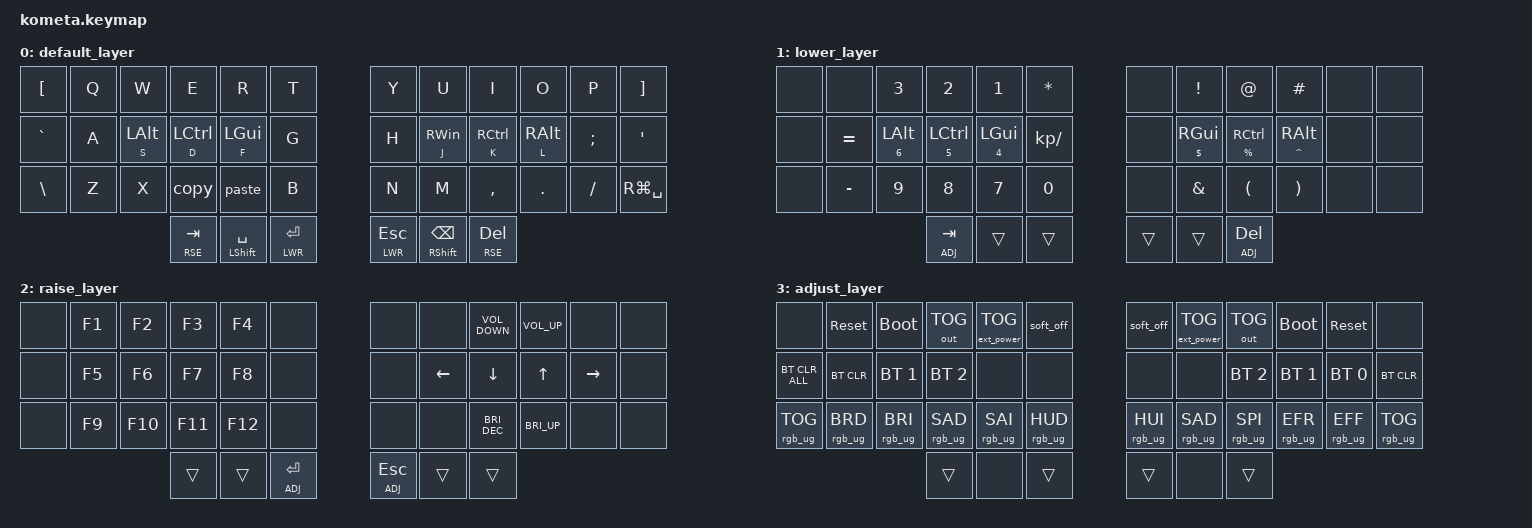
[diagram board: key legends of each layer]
#include <behaviors.dtsi>
#include <dt-bindings/zmk/bt.h>
#include <dt-bindings/zmk/ext_power.h>
#include <dt-bindings/zmk/keys.h>
#include <dt-bindings/zmk/outputs.h>
#include <dt-bindings/zmk/rgb.h>

#define DEF 0
#define LWR 1
#define RSE 2
#define ADJ 3

/ {
};

/ {
    behaviors {
        hr: hr {
            compatible = "zmk,behavior-hold-tap";
            label = "home_row";
            bindings = <&kp>, <&kp>;

            #binding-cells = <2>;
            tapping-term-ms = <150>;
            quick-tap-ms = <250>;
            flavor = "hold-preferred";
        };

        copy: copy {
            compatible = "zmk,behavior-tap-dance";
            label = "COPY";
            #binding-cells = <0>;
            bindings = <&kp C>, <&kp K_COPY>;
        };

        paste: paste {
            compatible = "zmk,behavior-tap-dance";
            label = "PASTE";
            #binding-cells = <0>;
            bindings = <&kp V>, <&kp INSERT>;
        };
    };

    keymap {
        compatible = "zmk,keymap";

        default_layer {
            bindings = <
&kp LEFT_BRACKET  &kp Q  &kp W           &kp E        &kp R           &kp T                                      &kp Y           &kp U            &kp I        &kp O            &kp P     &kp RIGHT_BRACKET
&kp GRAVE         &kp A  &hr S LEFT_ALT  &hr D LCTRL  &hr F LEFT_GUI  &kp G                                      &kp H           &hr J RIGHT_WIN  &hr K RCTRL  &hr L RIGHT_ALT  &kp SEMI  &kp SQT
&kp BSLH          &kp Z  &kp X           &copy        &paste          &kp B                                      &kp N           &kp M            &kp COMMA    &kp DOT          &kp FSLH  &kp RG(SPACE)
                                                      &lt RSE TAB     &mt LSHFT SPACE  &lt LWR RET  &lt LWR ESC  &mt RSHFT BSPC  &lt RSE DEL
            >;
        };

        lower_layer {
            bindings = <
&none  &none      &kp NUMBER_3           &kp NUMBER_2         &kp N1                 &kp ASTERISK                   &none   &kp EXCLAMATION       &kp AT_SIGN           &kp HASH               &none  &none
&none  &kp EQUAL  &hr NUMBER_6 LEFT_ALT  &hr N5 LEFT_CONTROL  &hr NUMBER_4 LEFT_GUI  &kp KP_DIVIDE                  &none   &hr DOLLAR RIGHT_GUI  &hr PERCENT RCTRL     &hr CARET RIGHT_ALT    &none  &none
&none  &kp MINUS  &kp N9                 &kp N8               &kp N7                 &kp N0                         &none   &kp AMPERSAND         &kp LEFT_PARENTHESIS  &kp RIGHT_PARENTHESIS  &none  &none
                                                              &lt ADJ TAB            &trans         &trans  &trans  &trans  &lt ADJ DEL
            >;
        };

        raise_layer {
            bindings = <
&none  &kp F1  &kp F2   &kp F3   &kp F4   &none                             &none   &none     &kp C_VOLUME_DOWN     &kp C_VOLUME_UP  &none            &none
&none  &kp F5  &kp F6   &kp F7   &kp F8   &none                             &none   &kp LEFT  &kp DOWN              &kp UP           &kp RIGHT_ARROW  &none
&none  &kp F9  &kp F10  &kp F11  &kp F12  &none                             &none   &none     &kp C_BRIGHTNESS_DEC  &kp C_BRI_UP     &none            &none
                                 &trans   &trans  &lt ADJ RET  &lt ADJ ESC  &trans  &trans
            >;
        };

        adjust_layer {
            bindings = <
&none            &sys_reset       &bootloader      &out OUT_TOG     &ext_power EP_TOG  &soft_off                        &soft_off        &ext_power EP_TOG  &out OUT_TOG     &bootloader      &sys_reset       &none
&bt BT_CLR_ALL   &bt BT_CLR       &bt BT_SEL 1     &bt BT_SEL 2     &none              &none                            &none            &none              &bt BT_SEL 2     &bt BT_SEL 1     &bt BT_SEL 0     &bt BT_CLR
&rgb_ug RGB_TOG  &rgb_ug RGB_BRD  &rgb_ug RGB_BRI  &rgb_ug RGB_SAD  &rgb_ug RGB_SAI    &rgb_ug RGB_HUD                  &rgb_ug RGB_HUI  &rgb_ug RGB_SAD    &rgb_ug RGB_SPI  &rgb_ug RGB_EFR  &rgb_ug RGB_EFF  &rgb_ug RGB_TOG
                                                                    &trans             &none            &trans  &trans  &none            &trans
            >;
        };
    };
};
